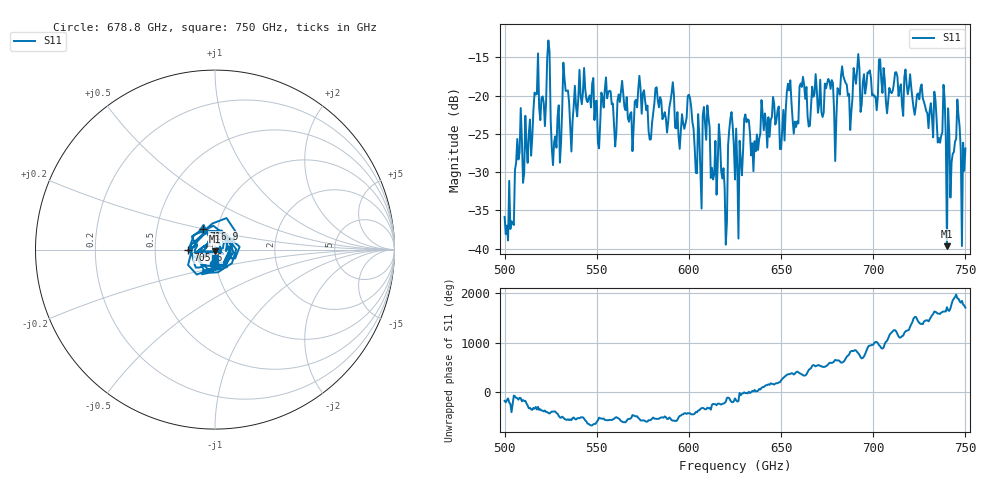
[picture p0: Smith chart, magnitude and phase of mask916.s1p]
!Created with skrf (http://scikit-rf.org).
# GHz S MA R 50.0
!freq magS11 angS11
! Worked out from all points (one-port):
!   401 points, 500 GHz to 750 GHz, reference 50 ohm
!   lowest |S11| = -39.7 dB at 740 GHz (marker M1), VSWR 1.02, Z = 50.1 - j1.03 ohm
!   |S11| at or under -10 dB: start of sweep to end of sweep
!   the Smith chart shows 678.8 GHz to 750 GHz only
!   S11 on the Smith chart (normalised r, x): 678.8 GHz: 0.97, -0.16; 705.6 GHz: 0.74, -0.01; 716.9 GHz: 0.86, +0.20; 750 GHz: 0.99, -0.09
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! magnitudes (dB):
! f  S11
! 500 GHz  -35.8
! 516.9 GHz  -19.8
! 523.8 GHz  -12.8
! 526.9 GHz  -26.1
! 531.2 GHz  -21.7
! 562.5 GHz  -20.8
! 579.4 GHz  -25.7
! 590.6 GHz  -19.7
! 593.8 GHz  -22.2
! 600.6 GHz  -20.3
! 605.6 GHz  -25.2
! 609.4 GHz  -25.8
! 619.4 GHz  -32.0
! 622.5 GHz  -23.0
! 625 GHz  -31.0
! 627.5 GHz  -25.9
! 631.2 GHz  -23.5
! 635 GHz  -29.9
! 656.2 GHz  -23.1
! 678.8 GHz  -21.9
! 683.8 GHz  -17.5
! 687.5 GHz  -24.5
! 690.6 GHz  -18.4
! 705.6 GHz  -16.4
! 716.9 GHz  -17.6
! 718.8 GHz  -19.8
! 740 GHz  -39.7
! 750 GHz  -26.9
